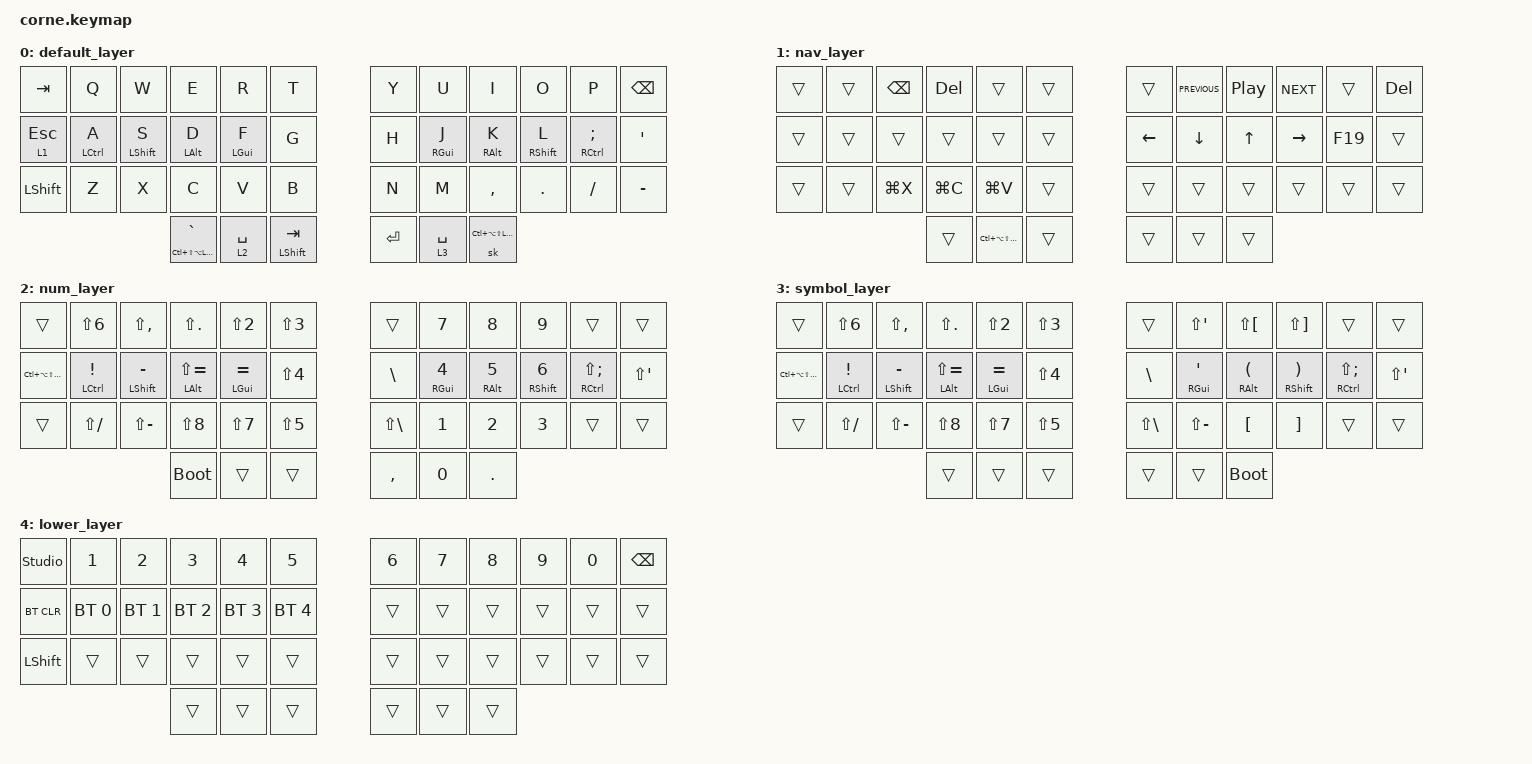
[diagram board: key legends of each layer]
/*
 * Copyright (c) 2020 The ZMK Contributors
 *
 * SPDX-License-Identifier: MIT
 */

#include <behaviors.dtsi>
#include <dt-bindings/zmk/keys.h>
#include <dt-bindings/zmk/bt.h>

#define KEYS_L 0 1 2 3 4 5 12 13 14 15 16 17 24 25 26 27 28 29    // Left hand alpha matrix
#define KEYS_R 6 7 8 9 10 11 18 19 20 21 22 23 30 31 32 33 34 35 // Right hand alpha matrix
#define THUMBS 36 37 38 39 40 41                                 // All thumb keys

&sk {
    release-after-ms = <2000>;
    quick-release;
};

/ {
    behaviors {
        // --- Homerow Mods ---
        hml: homerow_mods_left {
            compatible = "zmk,behavior-hold-tap";
            #binding-cells = <2>;
            flavor = "balanced";
            tapping-term-ms = <200>;
            quick-tap-ms = <175>;
            bindings = <&kp>, <&kp>;
            hold-trigger-key-positions = <KEYS_R THUMBS>;
            hold-trigger-on-release;
        };
        hmr: homerow_mods_right {
            compatible = "zmk,behavior-hold-tap";
            #binding-cells = <2>;
            flavor = "balanced";
            tapping-term-ms = <200>;
            quick-tap-ms = <175>;
            bindings = <&kp>, <&kp>;
            hold-trigger-key-positions = <KEYS_L THUMBS>;
            hold-trigger-on-release;
        };
        hyper_tap: hyper_tap {
            compatible = "zmk,behavior-hold-tap";
            label = "HYPER_TAP";
            #binding-cells = <2>;
            tapping-term-ms = <200>;
            quick-tap-ms = <0>;
            flavor = "tap-preferred";
            bindings = <&kp>, <&kp>;
        };
    };

    combos {
        compatible = "zmk,combos";
        combo_mo4 {
            timeout-ms = <50>;
            key-positions = <37 40>;
            bindings = <&mo 4>;
        };

        combo_f19 {
            timeout-ms = <50>;
            key-positions = <16 19>;
            bindings = <&kp F19>;
        };
    };

    keymap {
        compatible = "zmk,keymap";

        default_layer {
// -----------------------------------------------------------------------------------------
// |  TAB |  Q  |  W  |  E  |  R  |  T  |   |  Y  |  U   |  I  |  O  |  P  | BSPC |
// |NAVESC|  A  |  S  |  D  |  F  |  G  |   |  H  |  J   |  K  |  L  |  ;  |  '   |
// | SHFT |  Z  |  X  |  C  |  V  |  B  |   |  N  |  M   |  ,  |  .  |  /  |  -   |
//                    | Hy` |NUMSP|ShTab|   | ENT |SYSPC | stickyhyper |
            bindings = <
   &kp TAB   &kp Q &kp W &kp E &kp R &kp T   &kp Y &kp U  &kp I     &kp O   &kp P    &kp BSPC
   &lt 1 ESC &hml LCTRL A &hml LSHIFT S &hml LALT D &hml LGUI F &kp G   &kp H &hmr RGUI J  &hmr RALT K     &hmr RSHIFT L   &hmr RCTRL SEMICOLON &kp SQT
   &kp LSHFT &kp Z &kp X &kp C &kp V &kp B   &kp N &kp M  &kp COMMA &kp DOT &kp FSLH &kp MINUS
                  &hyper_tap LC(LS(LA(LGUI))) GRAVE &lt 2 SPACE  &mt LSHIFT TAB   &kp RET &lt 3 SPACE &sk LC(LA(LS(LGUI)))
            >;
        };
        nav_layer {
// -----------------------------------------------------------------------------------------
// |      |     |BKsp | DEL |     |     |   |     | PRV | PLAY| NXT |     | DEL  |
// |      |     |     |     |     |     |   | LFT | DWN |  UP | RGT | F19 |      |
// |      |     |LG(X)|LG(C)|LG(V)|     |   |     |     |     |     |     |      |
//                    |     |hyEND|     |   |     |     |     |
            bindings = <
&trans  &trans  &kp BACKSPACE &kp DEL  &trans  &trans  &trans &kp C_PREVIOUS &kp C_PLAY_PAUSE &kp C_NEXT &trans &kp DEL
&trans  &trans  &trans &trans   &trans  &trans  &kp LEFT  &kp DOWN &kp UP  &kp RIGHT  &kp F19   &trans
&trans  &trans  &kp LG(X) &kp LG(C)  &kp LG(V) &trans  &trans &trans  &trans  &trans &trans &trans
                        &trans  &kp LC(LA(LS(LG(END))))  &trans  &trans &trans  &trans
            >;
        };

        num_layer {
// -----------------------------------------------------------------------------------------
// |      |  ^  |  <  |  >  |  @  |  #  |   |     |  7  |  8  |  9  |     |      |
// | hyEND|  C! | S-  |  A+ |  G= |  $  |   |  \  |  4  |  5  |  6  |     |   "  |
// |      |  ?  |  _  |  *  |  &  |  %  |   |  |  |  1  |  2  |  3  |     |      |
//                    |     |     |     |   |  ,  |  0  |  .  |
            bindings = <
&trans  &kp LS(N6)  &kp LS(COMMA)  &kp LS(PERIOD)   &kp LS(N2)  &kp LS(N3)  &trans &kp N7 &kp N8 &kp N9 &trans &trans
&kp LC(LA(LS(LG(END))))  &hml LCTRL EXCLAMATION  &hml LEFT_SHIFT MINUS  &hml LALT LS(EQUAL) &hml LGUI EQUAL &kp LS(N4)  &kp BACKSLASH &hmr RGUI N4 &hmr RALT N5 &hmr RSHIFT N6 &hmr RCTRL LS(SEMICOLON) &kp LS(SINGLE_QUOTE)
&trans  &kp LS(SLASH)  &kp LS(MINUS)  &kp LS(N8)   &kp LS(N7)  &kp LS(N5)  &kp LS(BACKSLASH) &kp N1 &kp N2 &kp N3 &trans &trans
                        &bootloader   &trans  &trans  &kp COMMA &kp N0  &kp PERIOD
            >;
        };

        symbol_layer {
// -----------------------------------------------------------------------------------------
// |      |  ^  |  <  |  >  |  @  |  #  |   |     |  "  |  {  |  }  |     |      |
// | hyEND|  C! | S-  |  A+ |  G= |  $  |   |  \  |  '  |  (  |  )  |     |   "  |
// |      |  ?  |  _  |  *  |  &  |  %  |   |  |  |  _  |  [  |  ]  |     |      |
//                    |     |     |     |   |     |     |btldr|
            bindings = <
&trans  &kp LS(N6)  &kp LS(COMMA)  &kp LS(PERIOD)   &kp LS(N2)  &kp LS(N3)  &trans &kp LS(SINGLE_QUOTE) &kp LS(LEFT_BRACKET) &kp LS(RIGHT_BRACKET) &trans &trans
&kp LC(LA(LS(LG(END))))  &hml LCTRL EXCLAMATION  &hml LSHIFT MINUS  &hml LALT LS(EQUAL) &hml LGUI EQUAL &kp LS(N4) &kp BACKSLASH &hmr RGUI SINGLE_QUOTE &hmr RALT LEFT_PARENTHESIS &hmr RSHIFT RIGHT_PARENTHESIS &hmr RCTRL LS(SEMICOLON) &kp LS(SINGLE_QUOTE)
&trans  &kp LS(SLASH)  &kp LS(MINUS)  &kp LS(N8)   &kp LS(N7)  &kp LS(N5)  &kp LS(BACKSLASH) &kp LS(MINUS) &kp LEFT_BRACKET &kp RIGHT_BRACKET &trans &trans
                        &trans   &trans  &trans  &trans &trans  &bootloader
            >;
        };

        lower_layer {
// -----------------------------------------------------------------------------------------
// |unlock|  1  |  2  |  3  |  4  |  5  |   |  6  |  7  |  8  |  9  |  0  | BSPC |
// | BTCLR| BT1 | BT2 | BT3 | BT4 | BT5 |   |     |     |     |     |     |      |
// | SHFT |     |     |     |     |     |   |     |     |     |     |     |      |
//                    |     |     |     |   |     |     |     |
            bindings = <
   &studio_unlock    &kp N1       &kp N2       &kp N3       &kp N4       &kp N5         &kp N6   &kp N7   &kp N8 &kp N9    &kp N0 &kp BSPC
   &bt BT_CLR &bt BT_SEL 0 &bt BT_SEL 1 &bt BT_SEL 2 &bt BT_SEL 3 &bt BT_SEL 4   &trans &trans &trans &trans &trans &trans
   &kp LSHFT  &trans       &trans       &trans       &trans       &trans         &trans   &trans   &trans &trans    &trans &trans
                                    &trans     &trans       &trans      &trans  &trans   &trans
            >;
        };
    };
};
